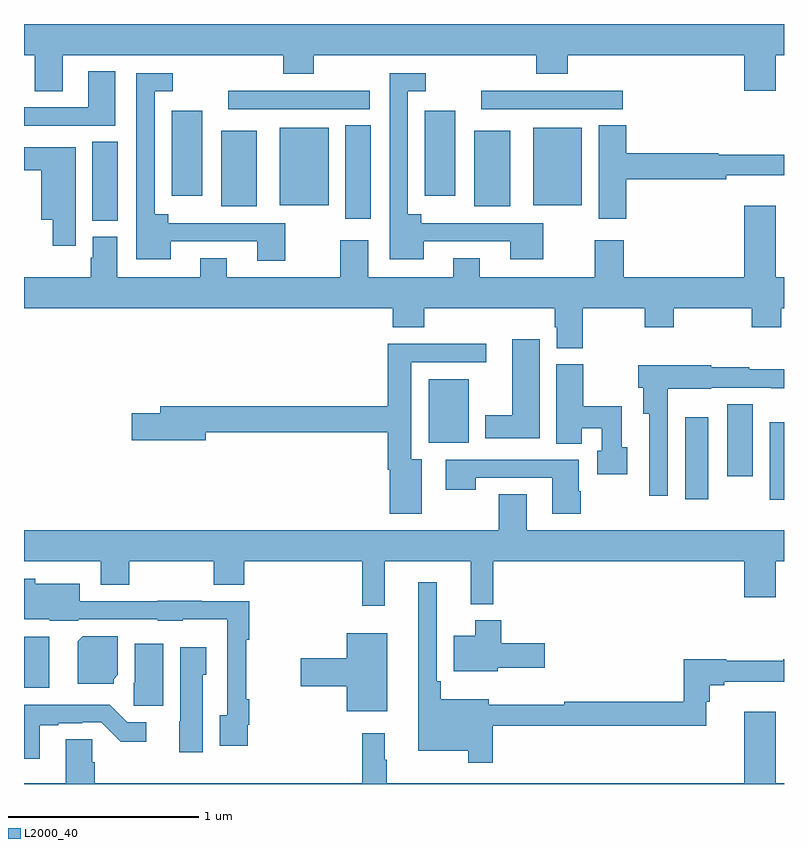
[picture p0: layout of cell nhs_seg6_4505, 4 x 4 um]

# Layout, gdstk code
import gdstk
lib = gdstk.Library(unit=1e-6, precision=1e-09)
def R(c, l, rs):  # rectangles x0, y0, x1, y1
    for r in rs: c.add(gdstk.rectangle(r[:2], r[2:], *l))
def P(c, l, *ps):  # polygons
    for p in ps: c.add(gdstk.Polygon(p, *l))
L2000_40 = (2000, 40)

nhs_seg6_4505 = lib.new_cell('nhs_seg6_4505')
R(nhs_seg6_4505, L2000_40, [(377,944.006,377.134,944.276), (380.924,944.997,381,945.403), (380.48,945,380.602,945.43), (380.702,945.12,380.836,945.5), (379.13,945.296,379.342,945.631), (377.36,946.465,377.494,946.88), (378.692,946.476,378.826,946.967), (378.038,946.541,378.226,946.939), (379.37,946.541,379.558,946.939), (378.347,946.547,378.604,946.954), (379.679,946.547,379.936,946.954), (377.777,946.596,377.938,947.044), (379.109,946.596,379.27,947.044), (378.075,947.052,378.82,947.148), (379.407,947.052,380.152,947.148)])
P(nhs_seg6_4505, L2000_40, [(377.203,947.336),(378.365,947.336),(378.365,947.237),(378.525,947.237),(378.525,947.336),(379.697,947.336),(379.697,947.237),(379.862,947.237),(379.862,947.336),(380.792,947.336),(380.792,947.148),(380.956,947.148),(380.956,947.336),(381,947.336),(381,947.5),(377,947.5),(377,947.336),(377.056,947.336),(377.056,947.146),(377.203,947.146)],
  [(377.479,947.251),(377.339,947.251),(377.339,947.061),(377,947.061),(377,946.965),(377.479,946.965)],
  [(378.375,946.452),(377.758,946.452),(377.758,946.498),(377.688,946.498),(377.688,947.145),(377.782,947.145),(377.782,947.241),(377.592,947.241),(377.592,946.262),(377.773,946.262),(377.773,946.356),(378.227,946.356),(378.227,946.254),(378.375,946.254)],
  [(379.105,946.356),(379.559,946.356),(379.559,946.262),(379.732,946.262),(379.732,946.452),(379.09,946.452),(379.09,946.498),(379.02,946.498),(379.02,947.145),(379.114,947.145),(379.114,947.241),(378.924,947.241),(378.924,946.262),(379.105,946.262)],
  [(380.171,946.684),(380.696,946.684),(380.696,946.703),(381,946.703),(381,946.813),(380.654,946.813),(380.654,946.82),(380.171,946.82),(380.171,946.967),(380.024,946.967),(380.024,946.476),(380.171,946.476)],
  [(377.272,946.852),(377,946.852),(377,946.73),(377.09,946.73),(377.09,946.469),(377.15,946.469),(377.15,946.332),(377.272,946.332)],
  [(379.941,946.004),(380.266,946.004),(380.266,945.905),(380.421,945.905),(380.421,946.004),(380.83,946.004),(380.83,945.905),(380.985,945.905),(380.985,946.004),(381,946.004),(381,946.168),(380.956,946.168),(380.956,946.543),(380.792,946.543),(380.792,946.168),(380.156,946.168),(380.156,946.363),(380.003,946.363),(380.003,946.168),(379.399,946.168),(379.399,946.267),(379.259,946.267),(379.259,946.168),(378.811,946.168),(378.811,946.363),(378.664,946.363),(378.664,946.168),(378.067,946.168),(378.067,946.267),(377.927,946.267),(377.927,946.168),(377.491,946.168),(377.491,946.38),(377.363,946.38),(377.363,946.269),(377.351,946.269),(377.351,946.168),(377,946.168),(377,946.004),(378.941,946.004),(378.941,945.905),(379.106,945.905),(379.106,946.004),(379.793,946.004),(379.793,945.903),(379.805,945.903),(379.805,945.793),(379.941,945.793)],
  [(379.714,945.841),(379.571,945.841),(379.571,945.442),(379.427,945.442),(379.427,945.32),(379.714,945.32)],
  [(379.093,945.208),(379.039,945.208),(379.039,945.72),(379.432,945.72),(379.432,945.818),(378.914,945.818),(378.914,945.488),(377.717,945.488),(377.717,945.452),(377.568,945.452),(377.568,945.31),(377.956,945.31),(377.956,945.352),(378.914,945.352),(378.914,945.155),(378.926,945.155),(378.926,944.922),(379.093,944.922)],
  [(380.176,945.272),(380.146,945.272),(380.146,945.488),(379.944,945.488),(379.944,945.708),(379.802,945.708),(379.802,945.292),(379.936,945.292),(379.936,945.372),(380.042,945.372),(380.042,945.255),(380.018,945.255),(380.018,945.13),(380.176,945.13)],
  [(380.388,945.581),(380.616,945.581),(380.616,945.585),(380.932,945.585),(380.932,945.584),(381,945.584),(381,945.684),(380.816,945.684),(380.816,945.694),(380.616,945.694),(380.616,945.703),(380.233,945.703),(380.233,945.585),(380.258,945.585),(380.258,945.449),(380.292,945.449),(380.292,945.018),(380.388,945.018)],
  [(379.929,945.041),(379.921,945.041),(379.921,945.207),(379.221,945.207),(379.221,945.048),(379.377,945.048),(379.377,945.111),(379.781,945.111),(379.781,944.922),(379.929,944.922)],
  [(378.899,944.672),(379.352,944.672),(379.352,944.447),(379.469,944.447),(379.469,944.672),(380.792,944.672),(380.792,944.484),(380.956,944.484),(380.956,944.672),(381,944.672),(381,944.836),(379.645,944.836),(379.645,945.026),(379.498,945.026),(379.498,944.836),(377,944.836),(377,944.672),(377.405,944.672),(377.405,944.548),(377.553,944.548),(377.553,944.672),(377.998,944.672),(377.998,944.548),(378.158,944.548),(378.158,944.672),(378.781,944.672),(378.781,944.439),(378.899,944.439)],
  [(378.178,943.813),(378.185,943.813),(378.185,943.945),(378.17,943.945),(378.17,944.26),(378.185,944.26),(378.185,944.463),(377.935,944.463),(377.935,944.465),(377.703,944.465),(377.703,944.463),(377.293,944.463),(377.293,944.554),(377.058,944.554),(377.058,944.581),(377,944.581),(377,944.366),(377.136,944.366),(377.136,944.36),(377.286,944.36),(377.286,944.367),(377.703,944.367),(377.703,944.36),(377.835,944.36),(377.835,944.366),(378.069,944.366),(378.069,943.862),(378.029,943.862),(378.029,943.701),(378.178,943.701)],
  [(379.466,943.806),(380.591,943.806),(380.591,943.932),(380.609,943.932),(380.609,944.02),(380.686,944.02),(380.686,944.039),(381,944.039),(381,944.156),(380.996,944.156),(380.996,944.149),(380.696,944.149),(380.696,944.156),(380.473,944.156),(380.473,943.934),(379.843,943.934),(379.843,943.916),(379.447,943.916),(379.447,943.945),(379.193,943.945),(379.193,944.041),(379.173,944.041),(379.173,944.563),(379.076,944.563),(379.076,943.676),(379.338,943.676),(379.338,943.611),(379.466,943.611)],
  [(379.494,944.111),(379.741,944.111),(379.741,944.241),(379.511,944.241),(379.511,944.362),(379.376,944.362),(379.376,944.281),(379.262,944.281),(379.262,944.093),(379.494,944.093)],
  [(378.913,944.293),(378.698,944.293),(378.698,944.162),(378.456,944.162),(378.456,944.015),(378.698,944.015),(378.698,943.883),(378.913,943.883)],
  [(377.472,944.052),(377.494,944.074),(377.494,944.278),(377.308,944.278),(377.282,944.252),(377.282,944.027),(377.472,944.027)],
  [(377.734,944.239),(377.582,944.239),(377.582,944.034),(377.578,944.034),(377.578,943.911),(377.734,943.911)],
  [(377.941,944.076),(377.959,944.076),(377.959,944.221),(377.822,944.221),(377.822,943.83),(377.816,943.83),(377.816,943.668),(377.941,943.668)],
  [(377.083,943.809),(377.179,943.809),(377.179,943.821),(377.306,943.821),(377.306,943.824),(377.406,943.824),(377.509,943.722),(377.644,943.722),(377.644,943.824),(377.544,943.824),(377.45,943.918),(377,943.918),(377,943.632),(377.083,943.632)],
  [(381,943.504),(380.956,943.504),(380.956,943.879),(380.792,943.879),(380.792,943.504),(378.91,943.504),(378.91,943.628),(378.898,943.628),(378.898,943.768),(378.781,943.768),(378.781,943.504),(377.372,943.504),(377.372,943.614),(377.358,943.614),(377.358,943.736),(377.219,943.736),(377.219,943.504),(377,943.504),(377,943.5),(381,943.5)])

lib.write_gds('nhs_seg6_4505.gds')
